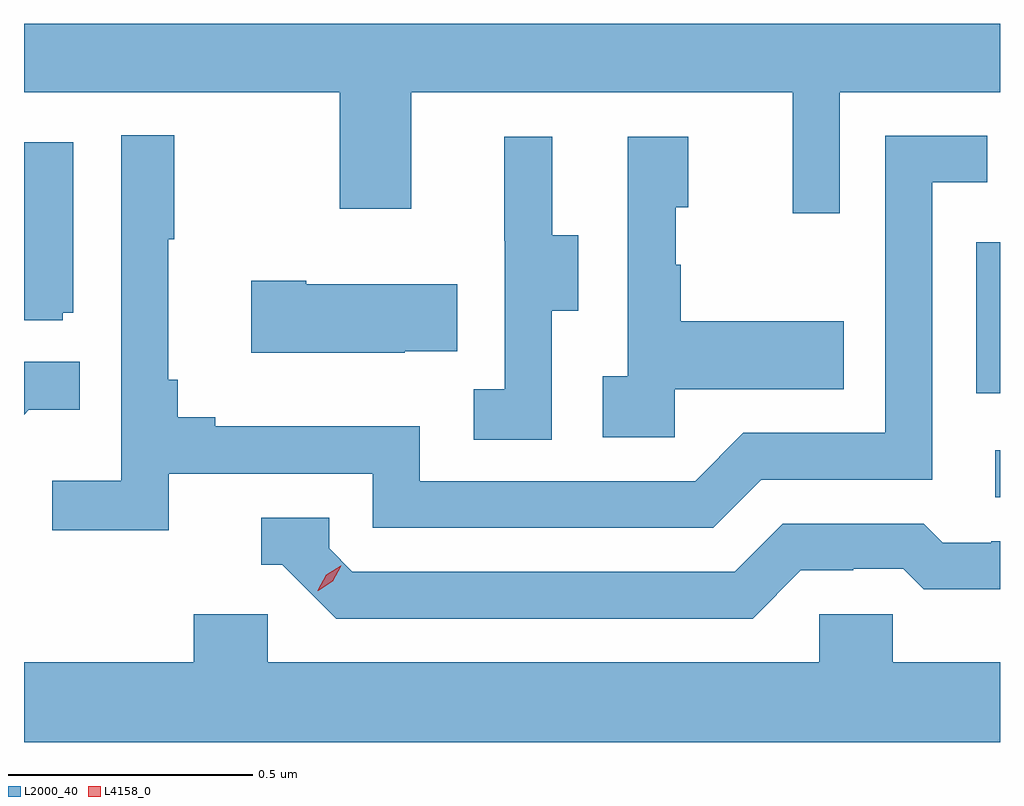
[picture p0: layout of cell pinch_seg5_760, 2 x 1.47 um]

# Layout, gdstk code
import gdstk
lib = gdstk.Library(unit=1e-6, precision=1e-09)
def R(c, l, rs):  # rectangles x0, y0, x1, y1
    for r in rs: c.add(gdstk.rectangle(r[:2], r[2:], *l))
def P(c, l, *ps):  # polygons
    for p in ps: c.add(gdstk.Polygon(p, *l))
L2000_40 = (2000, 40)
L4158_0 = (4158, 0)

pinch_seg5_760 = lib.new_cell('pinch_seg5_760')
R(pinch_seg5_760, L2000_40, [(846.267,898.554,846.277,898.65), (846.228,898.767,846.277,899.076)])
P(pinch_seg5_760, L2000_40, [(845.949,899.384),(846.277,899.384),(846.277,899.524),(844.277,899.524),(844.277,899.384),(844.924,899.384),(844.924,899.145),(845.071,899.145),(845.071,899.384),(845.852,899.384),(845.852,899.136),(845.949,899.136)],
  [(844.574,898.602),(844.992,898.602),(844.992,898.491),(845.689,898.491),(845.788,898.59),(846.138,898.59),(846.138,899.199),(846.251,899.199),(846.251,899.295),(846.042,899.295),(846.042,898.686),(845.751,898.686),(845.652,898.587),(845.088,898.587),(845.088,898.699),(844.669,898.699),(844.669,898.718),(844.592,898.718),(844.592,898.795),(844.573,898.795),(844.573,899.083),(844.585,899.083),(844.585,899.296),(844.476,899.296),(844.476,898.588),(844.335,898.588),(844.335,898.486),(844.574,898.486)],
  [(845.61,898.775),(845.957,898.775),(845.957,898.915),(845.623,898.915),(845.623,899.03),(845.613,899.03),(845.613,899.148),(845.638,899.148),(845.638,899.293),(845.514,899.293),(845.514,898.802),(845.463,898.802),(845.463,898.677),(845.61,898.677)],
  [(845.358,898.936),(845.413,898.936),(845.413,899.091),(845.359,899.091),(845.359,899.293),(845.261,899.293),(845.261,899.079),(845.262,899.079),(845.262,898.775),(845.199,898.775),(845.199,898.672),(845.358,898.672)],
  [(844.356,898.932),(844.378,898.932),(844.378,899.281),(844.277,899.281),(844.277,898.917),(844.356,898.917)],
  [(845.057,898.853),(845.165,898.853),(845.165,898.99),(844.855,898.99),(844.855,898.998),(844.743,898.998),(844.743,898.85),(845.057,898.85)],
  [(844.287,898.733),(844.391,898.733),(844.391,898.832),(844.277,898.832),(844.277,898.723)],
  [(845.869,898.404),(845.976,898.404),(845.976,898.407),(846.079,898.407),(846.121,898.365),(846.277,898.365),(846.277,898.464),(846.259,898.464),(846.259,898.461),(846.16,898.461),(846.121,898.5),(845.832,898.5),(845.733,898.401),(844.95,898.401),(844.902,898.449),(844.902,898.512),(844.763,898.512),(844.763,898.416),(844.806,898.416),(844.917,898.305),(845.77,898.305)],
  [(846.277,898.216),(846.057,898.216),(846.057,898.314),(845.907,898.314),(845.907,898.216),(844.776,898.216),(844.776,898.314),(844.625,898.314),(844.625,898.216),(844.277,898.216),(844.277,898.052),(846.277,898.052)])
P(pinch_seg5_760, L4158_0, [(844.879,898.362),(844.879,898.363),(844.896,898.395),(844.926,898.414),(844.927,898.414),(844.927,898.414),(844.91,898.382),(844.88,898.362)])

lib.write_gds('pinch_seg5_760.gds')
